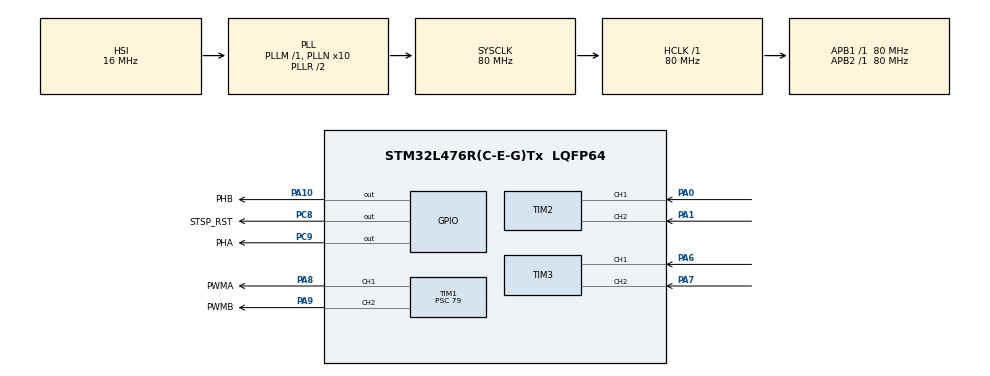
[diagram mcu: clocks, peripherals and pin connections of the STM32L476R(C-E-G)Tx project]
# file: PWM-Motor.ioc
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Mcu.Family=STM32L4
Mcu.Name=STM32L476R(C-E-G)Tx
Mcu.Package=LQFP64
NVIC.PriorityGroup=NVIC_PRIORITYGROUP_4
PA0.Signal=S_TIM2_CH1
PA1.Signal=S_TIM2_CH2
PA10.GPIO_Label=PHB
PA10.Signal=GPIO_Output
PA13\ (JTMS-SWDIO).Mode=Serial_Wire
PA13\ (JTMS-SWDIO).Signal=SYS_JTMS-SWDIO
PA14\ (JTCK-SWCLK).Mode=Serial_Wire
PA14\ (JTCK-SWCLK).Signal=SYS_JTCK-SWCLK
PA6.Signal=S_TIM3_CH1
PA7.Signal=S_TIM3_CH2
PA8.GPIO_Label=PWMA
PA8.Signal=S_TIM1_CH1
PA9.GPIO_Label=PWMB
PA9.Signal=S_TIM1_CH2
PC8.GPIO_Label=STSP_RST
PC8.Signal=GPIO_Output
PC9.GPIO_Label=PHA
PC9.Signal=GPIO_Output
ProjectManager.HeapSize=0x200
ProjectManager.StackSize=0x400
ProjectManager.TargetToolchain=MDK-ARM V5.32
RCC.ADCFreq_Value=64000000
RCC.AHBFreq_Value=80000000
RCC.APB1Freq_Value=80000000
RCC.APB1TimFreq_Value=80000000
RCC.APB2Freq_Value=80000000
RCC.APB2TimFreq_Value=80000000
RCC.CortexFreq_Value=80000000
RCC.HCLKFreq_Value=80000000
RCC.HSE_VALUE=8000000
RCC.HSI_VALUE=16000000
RCC.LSE_VALUE=32768
RCC.MSI_VALUE=4000000
RCC.PLLN=10
RCC.PLLSourceVirtual=RCC_PLLSOURCE_HSI
RCC.SYSCLKFreq_VALUE=80000000
RCC.SYSCLKSource=RCC_SYSCLKSOURCE_PLLCLK
RCC.USBFreq_Value=64000000
RCC.VCOOutputFreq_Value=160000000
SH.S_TIM1_CH1.0=TIM1_CH1,PWM Generation1 CH1
SH.S_TIM1_CH2.0=TIM1_CH2,PWM Generation2 CH2
SH.S_TIM2_CH1.0=TIM2_CH1,Encoder_Interface
SH.S_TIM2_CH2.0=TIM2_CH2,Encoder_Interface
SH.S_TIM3_CH1.0=TIM3_CH1,Encoder_Interface
SH.S_TIM3_CH2.0=TIM3_CH2,Encoder_Interface
TIM1.Channel-PWM\ Generation1\ CH1=TIM_CHANNEL_1
TIM1.Channel-PWM\ Generation2\ CH2=TIM_CHANNEL_2
TIM1.Period=999
TIM1.Prescaler=79
TIM2.EncoderMode=TIM_ENCODERMODE_TI12
TIM3.EncoderMode=TIM_ENCODERMODE_TI12
board=custom

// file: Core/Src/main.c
/* USER CODE BEGIN Header */
/**
  ******************************************************************************
  * @file           : main.c
  * @brief          : Main program body
  ******************************************************************************
  * @attention
  *
  * Copyright (c) 2026 STMicroelectronics.
  * All rights reserved.
  *
  * This software is licensed under terms that can be found in the LICENSE file
  * in the root directory of this software component.
  * If no LICENSE file comes with this software, it is provided AS-IS.
  *
  ******************************************************************************
  */
/* USER CODE END Header */
#include "main.h"

/* USER CODE BEGIN Includes */
	#include "motor_control.h"
	#include "motor_encoder.h"
	#include <stdio.h>
/* USER CODE END Includes */

/* USER CODE BEGIN PD */
motor_inst motor_a;
motor_inst motor_b;

encoder_inst motora_enc;
encoder_inst motorb_enc;

/* USER CODE END PD */

TIM_HandleTypeDef htim1;
TIM_HandleTypeDef htim2;
TIM_HandleTypeDef htim3;

void SystemClock_Config(void);
static void MX_GPIO_Init(void);
static void MX_TIM1_Init(void);
static void MX_TIM2_Init(void);
static void MX_TIM3_Init(void);

int main(void)
{

  /* MCU Configuration--------------------------------------------------------*/

  /* Reset of all peripherals, Initializes the Flash interface and the Systick. */
  HAL_Init();

  /* Configure the system clock */
  SystemClock_Config();

  /* Initialize all configured peripherals */
  MX_GPIO_Init();
  MX_TIM1_Init();
  MX_TIM2_Init();
  MX_TIM3_Init();
  /* USER CODE BEGIN 2 */

motor_init(&motor_a, &htim1, TIM_CHANNEL_1, PHA_GPIO_Port,
					PHA_Pin, STSP_RST_GPIO_Port, STSP_RST_Pin, 1);
motor_init(&motor_b, &htim1, TIM_CHANNEL_2, PHB_GPIO_Port,
					PHB_Pin, STSP_RST_GPIO_Port, STSP_RST_Pin, -1);

encoder_init(&motora_enc, &htim3, 0.002f, +1);

encoder_init(&motorb_enc, &htim2, 0.002f, -1);

uint32_t last_time = HAL_GetTick();
  /* USER CODE END 2 */

  /* Infinite loop */
  while (1)
  {

    /* USER CODE BEGIN 3 */

		uint32_t now = HAL_GetTick();

		if (now - last_time >= 2)   // dã trôi qua >= 2ms
		{
			float actual_dt = (now - last_time) / 1000.0f;
			last_time = now;

			get_encoder_speed(&motora_enc);
			get_encoder_speed(&motorb_enc);

		}

  }
  /* USER CODE END 3 */
}

void SystemClock_Config(void)
{
  RCC_OscInitTypeDef RCC_OscInitStruct = {0};
  RCC_ClkInitTypeDef RCC_ClkInitStruct = {0};

  /** Configure the main internal regulator output voltage
  */
  if (HAL_PWREx_ControlVoltageScaling(PWR_REGULATOR_VOLTAGE_SCALE1) != HAL_OK)
  {
    Error_Handler();
  }

  /** Initializes the RCC Oscillators according to the specified parameters
  * in the RCC_OscInitTypeDef structure.
  */
  RCC_OscInitStruct.OscillatorType = RCC_OSCILLATORTYPE_HSI;
  RCC_OscInitStruct.HSIState = RCC_HSI_ON;
  RCC_OscInitStruct.HSICalibrationValue = RCC_HSICALIBRATION_DEFAULT;
  RCC_OscInitStruct.PLL.PLLState = RCC_PLL_ON;
  RCC_OscInitStruct.PLL.PLLSource = RCC_PLLSOURCE_HSI;
  RCC_OscInitStruct.PLL.PLLM = 1;
  RCC_OscInitStruct.PLL.PLLN = 10;
  RCC_OscInitStruct.PLL.PLLP = RCC_PLLP_DIV7;
  RCC_OscInitStruct.PLL.PLLQ = RCC_PLLQ_DIV2;
  RCC_OscInitStruct.PLL.PLLR = RCC_PLLR_DIV2;
  if (HAL_RCC_OscConfig(&RCC_OscInitStruct) != HAL_OK)
  {
    Error_Handler();
  }

  /** Initializes the CPU, AHB and APB buses clocks
  */
  RCC_ClkInitStruct.ClockType = RCC_CLOCKTYPE_HCLK|RCC_CLOCKTYPE_SYSCLK
                              |RCC_CLOCKTYPE_PCLK1|RCC_CLOCKTYPE_PCLK2;
  RCC_ClkInitStruct.SYSCLKSource = RCC_SYSCLKSOURCE_PLLCLK;
  RCC_ClkInitStruct.AHBCLKDivider = RCC_SYSCLK_DIV1;
  RCC_ClkInitStruct.APB1CLKDivider = RCC_HCLK_DIV1;
  RCC_ClkInitStruct.APB2CLKDivider = RCC_HCLK_DIV1;

  if (HAL_RCC_ClockConfig(&RCC_ClkInitStruct, FLASH_LATENCY_4) != HAL_OK)
  {
    Error_Handler();
  }
}

static void MX_TIM1_Init(void)
{

  TIM_MasterConfigTypeDef sMasterConfig = {0};
  TIM_OC_InitTypeDef sConfigOC = {0};
  TIM_BreakDeadTimeConfigTypeDef sBreakDeadTimeConfig = {0};

  htim1.Instance = TIM1;
  htim1.Init.Prescaler = 79;
  htim1.Init.CounterMode = TIM_COUNTERMODE_UP;
  htim1.Init.Period = 999;
  htim1.Init.ClockDivision = TIM_CLOCKDIVISION_DIV1;
  htim1.Init.RepetitionCounter = 0;
  htim1.Init.AutoReloadPreload = TIM_AUTORELOAD_PRELOAD_DISABLE;
  if (HAL_TIM_PWM_Init(&htim1) != HAL_OK)
  {
    Error_Handler();
  }
  sMasterConfig.MasterOutputTrigger = TIM_TRGO_RESET;
  sMasterConfig.MasterOutputTrigger2 = TIM_TRGO2_RESET;
  sMasterConfig.MasterSlaveMode = TIM_MASTERSLAVEMODE_DISABLE;
  if (HAL_TIMEx_MasterConfigSynchronization(&htim1, &sMasterConfig) != HAL_OK)
  {
    Error_Handler();
  }
  sConfigOC.OCMode = TIM_OCMODE_PWM1;
  sConfigOC.Pulse = 0;
  sConfigOC.OCPolarity = TIM_OCPOLARITY_HIGH;
  sConfigOC.OCNPolarity = TIM_OCNPOLARITY_HIGH;
  sConfigOC.OCFastMode = TIM_OCFAST_DISABLE;
  sConfigOC.OCIdleState = TIM_OCIDLESTATE_RESET;
  sConfigOC.OCNIdleState = TIM_OCNIDLESTATE_RESET;
  if (HAL_TIM_PWM_ConfigChannel(&htim1, &sConfigOC, TIM_CHANNEL_1) != HAL_OK)
  {
    Error_Handler();
  }
  if (HAL_TIM_PWM_ConfigChannel(&htim1, &sConfigOC, TIM_CHANNEL_2) != HAL_OK)
  {
    Error_Handler();
  }
  sBreakDeadTimeConfig.OffStateRunMode = TIM_OSSR_DISABLE;
  sBreakDeadTimeConfig.OffStateIDLEMode = TIM_OSSI_DISABLE;
  sBreakDeadTimeConfig.LockLevel = TIM_LOCKLEVEL_OFF;
  sBreakDeadTimeConfig.DeadTime = 0;
  sBreakDeadTimeConfig.BreakState = TIM_BREAK_DISABLE;
  sBreakDeadTimeConfig.BreakPolarity = TIM_BREAKPOLARITY_HIGH;
  sBreakDeadTimeConfig.BreakFilter = 0;
  sBreakDeadTimeConfig.Break2State = TIM_BREAK2_DISABLE;
  sBreakDeadTimeConfig.Break2Polarity = TIM_BREAK2POLARITY_HIGH;
  sBreakDeadTimeConfig.Break2Filter = 0;
  sBreakDeadTimeConfig.AutomaticOutput = TIM_AUTOMATICOUTPUT_DISABLE;
  if (HAL_TIMEx_ConfigBreakDeadTime(&htim1, &sBreakDeadTimeConfig) != HAL_OK)
  {
    Error_Handler();
  }
  HAL_TIM_MspPostInit(&htim1);

}

static void MX_TIM2_Init(void)
{

  TIM_Encoder_InitTypeDef sConfig = {0};
  TIM_MasterConfigTypeDef sMasterConfig = {0};

  htim2.Instance = TIM2;
  htim2.Init.Prescaler = 0;
  htim2.Init.CounterMode = TIM_COUNTERMODE_UP;
  htim2.Init.Period = 4294967295;
  htim2.Init.ClockDivision = TIM_CLOCKDIVISION_DIV1;
  htim2.Init.AutoReloadPreload = TIM_AUTORELOAD_PRELOAD_DISABLE;
  sConfig.EncoderMode = TIM_ENCODERMODE_TI12;
  sConfig.IC1Polarity = TIM_ICPOLARITY_RISING;
  sConfig.IC1Selection = TIM_ICSELECTION_DIRECTTI;
  sConfig.IC1Prescaler = TIM_ICPSC_DIV1;
  sConfig.IC1Filter = 0;
  sConfig.IC2Polarity = TIM_ICPOLARITY_RISING;
  sConfig.IC2Selection = TIM_ICSELECTION_DIRECTTI;
  sConfig.IC2Prescaler = TIM_ICPSC_DIV1;
  sConfig.IC2Filter = 0;
  if (HAL_TIM_Encoder_Init(&htim2, &sConfig) != HAL_OK)
  {
    Error_Handler();
  }
  sMasterConfig.MasterOutputTrigger = TIM_TRGO_RESET;
  sMasterConfig.MasterSlaveMode = TIM_MASTERSLAVEMODE_DISABLE;
  if (HAL_TIMEx_MasterConfigSynchronization(&htim2, &sMasterConfig) != HAL_OK)
  {
    Error_Handler();
  }

}

static void MX_TIM3_Init(void)
{

  TIM_Encoder_InitTypeDef sConfig = {0};
  TIM_MasterConfigTypeDef sMasterConfig = {0};

  htim3.Instance = TIM3;
  htim3.Init.Prescaler = 0;
  htim3.Init.CounterMode = TIM_COUNTERMODE_UP;
  htim3.Init.Period = 65535;
  htim3.Init.ClockDivision = TIM_CLOCKDIVISION_DIV1;
  htim3.Init.AutoReloadPreload = TIM_AUTORELOAD_PRELOAD_DISABLE;
  sConfig.EncoderMode = TIM_ENCODERMODE_TI12;
  sConfig.IC1Polarity = TIM_ICPOLARITY_RISING;
  sConfig.IC1Selection = TIM_ICSELECTION_DIRECTTI;
  sConfig.IC1Prescaler = TIM_ICPSC_DIV1;
  sConfig.IC1Filter = 0;
  sConfig.IC2Polarity = TIM_ICPOLARITY_RISING;
  sConfig.IC2Selection = TIM_ICSELECTION_DIRECTTI;
  sConfig.IC2Prescaler = TIM_ICPSC_DIV1;
  sConfig.IC2Filter = 0;
  if (HAL_TIM_Encoder_Init(&htim3, &sConfig) != HAL_OK)
  {
    Error_Handler();
  }
  sMasterConfig.MasterOutputTrigger = TIM_TRGO_RESET;
  sMasterConfig.MasterSlaveMode = TIM_MASTERSLAVEMODE_DISABLE;
  if (HAL_TIMEx_MasterConfigSynchronization(&htim3, &sMasterConfig) != HAL_OK)
  {
    Error_Handler();
  }

}

static void MX_GPIO_Init(void)
{
  GPIO_InitTypeDef GPIO_InitStruct = {0};

  /* GPIO Ports Clock Enable */
  __HAL_RCC_GPIOA_CLK_ENABLE();
  __HAL_RCC_GPIOC_CLK_ENABLE();

  /*Configure GPIO pin Output Level */
  HAL_GPIO_WritePin(GPIOC, STSP_RST_Pin|PHA_Pin, GPIO_PIN_RESET);

  /*Configure GPIO pin Output Level */
  HAL_GPIO_WritePin(PHB_GPIO_Port, PHB_Pin, GPIO_PIN_RESET);

  /*Configure GPIO pins : STSP_RST_Pin PHA_Pin */
  GPIO_InitStruct.Pin = STSP_RST_Pin|PHA_Pin;
  GPIO_InitStruct.Mode = GPIO_MODE_OUTPUT_PP;
  GPIO_InitStruct.Pull = GPIO_NOPULL;
  GPIO_InitStruct.Speed = GPIO_SPEED_FREQ_LOW;
  HAL_GPIO_Init(GPIOC, &GPIO_InitStruct);

  /*Configure GPIO pin : PHB_Pin */
  GPIO_InitStruct.Pin = PHB_Pin;
  GPIO_InitStruct.Mode = GPIO_MODE_OUTPUT_PP;
  GPIO_InitStruct.Pull = GPIO_NOPULL;
  GPIO_InitStruct.Speed = GPIO_SPEED_FREQ_LOW;
  HAL_GPIO_Init(PHB_GPIO_Port, &GPIO_InitStruct);

}

void Error_Handler(void)
{
  __disable_irq();
  while (1)
  {
  }
}
